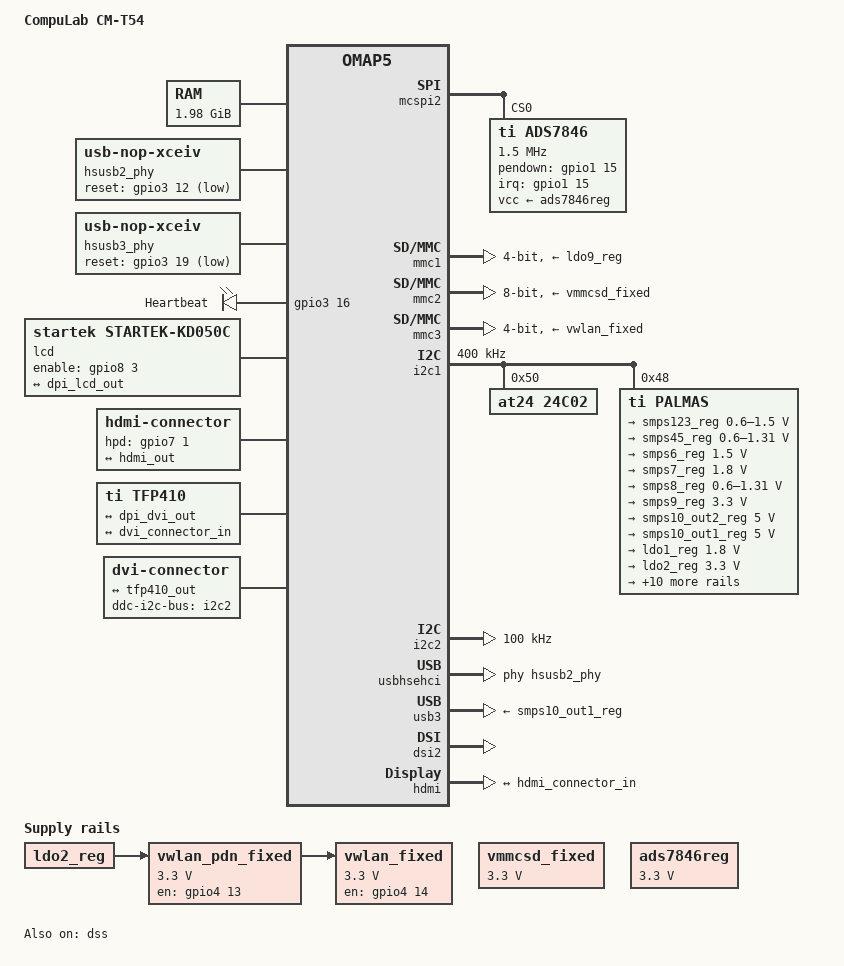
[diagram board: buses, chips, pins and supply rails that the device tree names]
/*
 * Support for CompuLab CM-T54
 */
/dts-v1/;

#include "omap5.dtsi"
#include <dt-bindings/interrupt-controller/irq.h>
#include <dt-bindings/interrupt-controller/arm-gic.h>

/ {
	model = "CompuLab CM-T54";
	compatible = "compulab,omap5-cm-t54", "ti,omap5";

	memory {
		device_type = "memory";
		reg = <0x80000000 0x7F000000>; /* 2048 MB */
	};

	aliases {
		display0 = &hdmi0;
		display1 = &dvi0;
		display2 = &lcd0;
	};

	vmmcsd_fixed: fixed-regulator-mmcsd {
		compatible = "regulator-fixed";
		regulator-name = "vmmcsd_fixed";
		regulator-min-microvolt = <3300000>;
		regulator-max-microvolt = <3300000>;
	};

	vwlan_pdn_fixed: fixed-regulator-vwlan-pdn {
		compatible = "regulator-fixed";
		regulator-name = "vwlan_pdn_fixed";
		regulator-min-microvolt = <3300000>;
		regulator-max-microvolt = <3300000>;
		vin-supply = <&ldo2_reg>;
		gpio = <&gpio4 13 GPIO_ACTIVE_HIGH>;   /* gpio4_109 */
		startup-delay-us = <1000>;
		enable-active-high;
	};

	vwlan_fixed: fixed-regulator-vwlan {
		compatible = "regulator-fixed";
		regulator-name = "vwlan_fixed";
		regulator-min-microvolt = <3300000>;
		regulator-max-microvolt = <3300000>;
		vin-supply = <&vwlan_pdn_fixed>;
		gpio = <&gpio4 14 GPIO_ACTIVE_HIGH>;   /* gpio4_110 */
		startup-delay-us = <1000>;
		enable-active-high;
	};

	ads7846reg: ads7846-reg {
		compatible = "regulator-fixed";
		regulator-name = "ads7846-reg";
		regulator-min-microvolt = <3300000>;
		regulator-max-microvolt = <3300000>;
	};

	/* HS USB Host PHY on PORT 2 */
	hsusb2_phy: hsusb2_phy {
		compatible = "usb-nop-xceiv";
		reset-gpios = <&gpio3 12 GPIO_ACTIVE_LOW>; /* gpio3_76 HUB_RESET */
	};

	/* HS USB Host PHY on PORT 3 */
	hsusb3_phy: hsusb3_phy {
		compatible = "usb-nop-xceiv";
		reset-gpios = <&gpio3 19 GPIO_ACTIVE_LOW>; /* gpio3_83 ETH_RESET */
	};

	leds {
		compatible = "gpio-leds";
		led@1 {
			label = "Heartbeat";
			gpios = <&gpio3 16 GPIO_ACTIVE_HIGH>; /* gpio3_80 ACT_LED */
			linux,default-trigger = "heartbeat";
			default-state = "off";
		};
	};

	lcd0: display {
                compatible = "startek,startek-kd050c", "panel-dpi";
                label = "lcd";

                pinctrl-names = "default";
                pinctrl-0 = <&lcd_pins>;

                enable-gpios = <&gpio8 3 GPIO_ACTIVE_HIGH>;

                panel-timing {
                        clock-frequency = <33000000>;
                        hactive = <800>;
                        vactive = <480>;
                        hfront-porch = <40>;
                        hback-porch = <40>;
                        hsync-len = <43>;
                        vback-porch = <29>;
                        vfront-porch = <13>;
                        vsync-len = <3>;
                        hsync-active = <0>;
                        vsync-active = <0>;
                        de-active = <1>;
                        pixelclk-active = <1>;
                };

                port {
                        lcd_in: endpoint {
                                remote-endpoint = <&dpi_lcd_out>;
                        };
                };
        };

	hdmi0: connector@0 {
		compatible = "hdmi-connector";
		label = "hdmi";

		type = "a";

		pinctrl-names = "default";
		pinctrl-0 = <&hdmi_conn_pins>;

		hpd-gpios = <&gpio7 1 GPIO_ACTIVE_HIGH>; /* GPIO 193, HPD */

		port {
			hdmi_connector_in: endpoint {
				remote-endpoint = <&hdmi_out>;
			};
		};
	};

	tfp410: encoder@0 {
		compatible = "ti,tfp410";

		ports {
			#address-cells = <1>;
			#size-cells = <0>;

			port@0 {
				reg = <0>;

				tfp410_in: endpoint@0 {
					remote-endpoint = <&dpi_dvi_out>;
				};
			};

			port@1 {
				reg = <1>;

				tfp410_out: endpoint@0 {
					remote-endpoint = <&dvi_connector_in>;
				};
			};
		};
	};

	dvi0: connector@1 {
		compatible = "dvi-connector";
		label = "dvi";

		digital;

		ddc-i2c-bus = <&i2c2>;

		port {
			dvi_connector_in: endpoint {
				remote-endpoint = <&tfp410_out>;
			};
		};
	};
};

&omap5_pmx_wkup {

	ads7846_pins: pinmux_ads7846_pins {
		pinctrl-single,pins = <
			OMAP5_IOPAD(0x0042, PIN_INPUT_PULLDOWN | MUX_MODE6)  /* llib_wakereqin.gpio1_wk15 */
		>;
	};
};

&omap5_pmx_core {
	pinctrl-names = "default";
	pinctrl-0 = <
			&led_gpio_pins
			&usbhost_pins
	>;

	led_gpio_pins: pinmux_led_gpio_pins {
		pinctrl-single,pins = <
			OMAP5_IOPAD(0x00b0, PIN_OUTPUT | MUX_MODE6) /* hsi2_caflag.gpio3_80 */
		>;
	};

	i2c1_pins: pinmux_i2c1_pins {
		pinctrl-single,pins = <
			OMAP5_IOPAD(0x01f2, PIN_INPUT_PULLUP | MUX_MODE0) /* i2c1_pmic_scl */
			OMAP5_IOPAD(0x01f4, PIN_INPUT_PULLUP | MUX_MODE0) /* i2c1_pmic_sda */
		>;
	};

	i2c2_pins: pinmux_i2c2_pins {
		pinctrl-single,pins = <
			OMAP5_IOPAD(0x01b8, PIN_INPUT | MUX_MODE0) /* i2c2_scl */
			OMAP5_IOPAD(0x01ba, PIN_INPUT | MUX_MODE0) /* i2c2_sda */
		>;
	};

	mmc1_pins: pinmux_mmc1_pins {
		pinctrl-single,pins = <
			OMAP5_IOPAD(0x01e2, PIN_INPUT_PULLUP | MUX_MODE0) /* sdcard_clk */
			OMAP5_IOPAD(0x01e4, PIN_INPUT_PULLUP | MUX_MODE0) /* sdcard_cmd */
			OMAP5_IOPAD(0x01e6, PIN_INPUT_PULLUP | MUX_MODE0) /* sdcard_data2 */
			OMAP5_IOPAD(0x01e8, PIN_INPUT_PULLUP | MUX_MODE0) /* sdcard_data3 */
			OMAP5_IOPAD(0x01ea, PIN_INPUT_PULLUP | MUX_MODE0) /* sdcard_data0 */
			OMAP5_IOPAD(0x01ec, PIN_INPUT_PULLUP | MUX_MODE0) /* sdcard_data1 */
		>;
	};

	mmc2_pins: pinmux_mmc2_pins {
		pinctrl-single,pins = <
			OMAP5_IOPAD(0x0040, PIN_INPUT_PULLUP | MUX_MODE0) /* emmc_clk */
			OMAP5_IOPAD(0x0042, PIN_INPUT_PULLUP | MUX_MODE0) /* emmc_cmd */
			OMAP5_IOPAD(0x0044, PIN_INPUT_PULLUP | MUX_MODE0) /* emmc_data0 */
			OMAP5_IOPAD(0x0046, PIN_INPUT_PULLUP | MUX_MODE0) /* emmc_data1 */
			OMAP5_IOPAD(0x0048, PIN_INPUT_PULLUP | MUX_MODE0) /* emmc_data2 */
			OMAP5_IOPAD(0x004a, PIN_INPUT_PULLUP | MUX_MODE0) /* emmc_data3 */
			OMAP5_IOPAD(0x004c, PIN_INPUT_PULLUP | MUX_MODE0) /* emmc_data4 */
			OMAP5_IOPAD(0x004e, PIN_INPUT_PULLUP | MUX_MODE0) /* emmc_data5 */
			OMAP5_IOPAD(0x0050, PIN_INPUT_PULLUP | MUX_MODE0) /* emmc_data6 */
			OMAP5_IOPAD(0x0052, PIN_INPUT_PULLUP | MUX_MODE0) /* emmc_data7 */
		>;
	};

	mmc3_pins: pinmux_mmc3_pins {
		pinctrl-single,pins = <
			OMAP5_IOPAD(0x01a4, PIN_INPUT_PULLUP | MUX_MODE0) /* wlsdio_clk */
			OMAP5_IOPAD(0x01a6, PIN_INPUT_PULLUP | MUX_MODE0) /* wlsdio_cmd */
			OMAP5_IOPAD(0x01a8, PIN_INPUT_PULLUP | MUX_MODE0) /* wlsdio_data0 */
			OMAP5_IOPAD(0x01aa, PIN_INPUT_PULLUP | MUX_MODE0) /* wlsdio_data1 */
			OMAP5_IOPAD(0x01ac, PIN_INPUT_PULLUP | MUX_MODE0) /* wlsdio_data2 */
			OMAP5_IOPAD(0x01ae, PIN_INPUT_PULLUP | MUX_MODE0) /* wlsdio_data3 */
		>;
	};

	wlan_gpios_pins: pinmux_wlan_gpios_pins {
		pinctrl-single,pins = <
			OMAP5_IOPAD(0x019c, PIN_OUTPUT_PULLDOWN | MUX_MODE6) /* abemcpdm_ul_data.gpio4_109 */
			OMAP5_IOPAD(0x019e, PIN_OUTPUT_PULLDOWN | MUX_MODE6) /* abemcpdm_dl_data.gpio4_110 */
		>;
	};

	usbhost_pins: pinmux_usbhost_pins {
		pinctrl-single,pins = <
			OMAP5_IOPAD(0x00c4, PIN_INPUT | MUX_MODE0)  /* usbb2_hsic_strobe */
			OMAP5_IOPAD(0x00c6, PIN_INPUT | MUX_MODE0)  /* usbb2_hsic_data */

			OMAP5_IOPAD(0x01dc, PIN_INPUT | MUX_MODE0)  /* usbb3_hsic_strobe */
			OMAP5_IOPAD(0x01de, PIN_INPUT | MUX_MODE0)  /* usbb3_hsic_data */

			OMAP5_IOPAD(0x00a8, PIN_OUTPUT | MUX_MODE6) /* hsi2_caready.gpio3_76 */
			OMAP5_IOPAD(0x00b6, PIN_OUTPUT | MUX_MODE6) /* hsi2_acdata.gpio3_83 */
		>;
	};

	dss_hdmi_pins: pinmux_dss_hdmi_pins {
		pinctrl-single,pins = <
			OMAP5_IOPAD(0x013c, PIN_INPUT_PULLUP | MUX_MODE0) /* hdmi_cec */
			OMAP5_IOPAD(0x0140, PIN_INPUT | MUX_MODE0) /* hdmi_ddc_scl */
			OMAP5_IOPAD(0x0142, PIN_INPUT | MUX_MODE0) /* hdmi_ddc_sda */
		>;
	};

	lcd_pins: pinmux_lcd_pins {
		pinctrl-single,pins = <
			OMAP5_IOPAD(0x0172, PIN_OUTPUT_PULLDOWN | MUX_MODE6) /* timer11_pwm_evt.gpio8_227 */
		>;
	};

	hdmi_conn_pins: pinmux_hdmi_conn_pins {
		pinctrl-single,pins = <
			OMAP5_IOPAD(0x013e, PIN_INPUT | MUX_MODE6) /* hdmi_hpd.gpio7_193 */
		>;
	};

	dss_dpi_pins: pinmux_dss_dpi_pins {
		pinctrl-single,pins = <
			OMAP5_IOPAD(0x0104, PIN_OUTPUT | MUX_MODE3) /* rfbi_data15.dispc_data15 */
			OMAP5_IOPAD(0x0106, PIN_OUTPUT | MUX_MODE3) /* rfbi_data14.dispc_data14 */
			OMAP5_IOPAD(0x0108, PIN_OUTPUT | MUX_MODE3) /* rfbi_data13.dispc_data13 */
			OMAP5_IOPAD(0x010a, PIN_OUTPUT | MUX_MODE3) /* rfbi_data12.dispc_data12 */
			OMAP5_IOPAD(0x010c, PIN_OUTPUT | MUX_MODE3) /* rfbi_data11.dispc_data11 */
			OMAP5_IOPAD(0x010e, PIN_OUTPUT | MUX_MODE3) /* rfbi_data10.dispc_data10 */
			OMAP5_IOPAD(0x0110, PIN_OUTPUT | MUX_MODE3) /* rfbi_data9.dispc_data9 */
			OMAP5_IOPAD(0x0112, PIN_OUTPUT | MUX_MODE3) /* rfbi_data8.dispc_data8 */
			OMAP5_IOPAD(0x0114, PIN_OUTPUT | MUX_MODE3) /* rfbi_data7.dispc_data7 */
			OMAP5_IOPAD(0x0116, PIN_OUTPUT | MUX_MODE3) /* rfbi_data6.dispc_data6 */
			OMAP5_IOPAD(0x0118, PIN_OUTPUT | MUX_MODE3) /* rfbi_data5.dispc_data5 */
			OMAP5_IOPAD(0x011a, PIN_OUTPUT | MUX_MODE3) /* rfbi_data4.dispc_data4 */
			OMAP5_IOPAD(0x011c, PIN_OUTPUT | MUX_MODE3) /* rfbi_data3.dispc_data3 */
			OMAP5_IOPAD(0x011e, PIN_OUTPUT | MUX_MODE3) /* rfbi_data2.dispc_data2 */
			OMAP5_IOPAD(0x0120, PIN_OUTPUT | MUX_MODE3) /* rfbi_data1.dispc_data1 */
			OMAP5_IOPAD(0x0122, PIN_OUTPUT | MUX_MODE3) /* rfbi_data0.dispc_data0 */
			OMAP5_IOPAD(0x0124, PIN_OUTPUT | MUX_MODE3) /* rfbi_we.dispc_vsync */
			OMAP5_IOPAD(0x0126, PIN_OUTPUT | MUX_MODE3) /* rfbi_cs0.dispc_hsync */
			OMAP5_IOPAD(0x0128, PIN_OUTPUT | MUX_MODE3) /* rfbi_a0.dispc_de */
			OMAP5_IOPAD(0x012a, PIN_OUTPUT | MUX_MODE3) /* rfbi_re.dispc_pclk */
			OMAP5_IOPAD(0x012c, PIN_OUTPUT | MUX_MODE3) /* rfbi_hsync0.dispc_data17 */
			OMAP5_IOPAD(0x012e, PIN_OUTPUT | MUX_MODE3) /* rfbi_te_vsync0.dispc_data16 */
			OMAP5_IOPAD(0x0130, PIN_OUTPUT | MUX_MODE3) /* gpio6_182.dispc_data18 */
			OMAP5_IOPAD(0x0132, PIN_OUTPUT | MUX_MODE3) /* gpio6_183.dispc_data19 */
			OMAP5_IOPAD(0x0134, PIN_OUTPUT | MUX_MODE3) /* gpio6_184.dispc_data20 */
			OMAP5_IOPAD(0x0136, PIN_OUTPUT | MUX_MODE3) /* gpio6_185.dispc_data21 */
			OMAP5_IOPAD(0x0138, PIN_OUTPUT | MUX_MODE3) /* gpio6_186.dispc_data22 */
			OMAP5_IOPAD(0x013a, PIN_OUTPUT | MUX_MODE3) /* gpio6_187.dispc_data23 */
		>;
	};

	mcspi2_pins: pinmux_mcspi1_pins {
		pinctrl-single,pins = <
			OMAP5_IOPAD(0x00fc, PIN_INPUT | MUX_MODE0) /* mcspi2_clk */
			OMAP5_IOPAD(0x00fe, PIN_INPUT | MUX_MODE0) /* mcspi2_simo */
			OMAP5_IOPAD(0x0100, PIN_INPUT | MUX_MODE0) /* mcspi2_somi */
			OMAP5_IOPAD(0x0102, PIN_INPUT | MUX_MODE0) /* mcspi2_cs0 */
		>;
	};
};

&mcspi2 {
	pinctrl-names = "default";
	pinctrl-0 = <&mcspi2_pins>;

	/* touch controller */
	ads7846@0 {
		pinctrl-names = "default";
		pinctrl-0 = <&ads7846_pins>;

		compatible = "ti,ads7846";
		vcc-supply = <&ads7846reg>;

		reg = <0>;				/* CS0 */
		spi-max-frequency = <1500000>;

		interrupt-parent = <&gpio1>;
		interrupts = <15 0>;			/* gpio1_wk15 */
		pendown-gpio = <&gpio1 15 GPIO_ACTIVE_HIGH>;


		ti,x-min = /bits/ 16 <0x0>;
		ti,x-max = /bits/ 16 <0x0fff>;
		ti,y-min = /bits/ 16 <0x0>;
		ti,y-max = /bits/ 16 <0x0fff>;

		ti,x-plate-ohms = /bits/ 16 <180>;
		ti,pressure-max = /bits/ 16 <255>;

		ti,debounce-max = /bits/ 16 <30>;
		ti,debounce-tol = /bits/ 16 <10>;
		ti,debounce-rep = /bits/ 16 <1>;

		wakeup-source;
	};
};

&mmc1 {
	pinctrl-names = "default";
	pinctrl-0 = <&mmc1_pins>;
	vmmc-supply = <&ldo9_reg>;
	bus-width = <4>;
};

&mmc2 {
	pinctrl-names = "default";
	pinctrl-0 = <&mmc2_pins>;
	vmmc-supply = <&vmmcsd_fixed>;
	bus-width = <8>;
	ti,non-removable;
};

&mmc3 {
	pinctrl-names = "default";
	pinctrl-0 = <
		&mmc3_pins
		&wlan_gpios_pins
	>;
	vmmc-supply = <&vwlan_fixed>;
	bus-width = <4>;
	ti,non-removable;
};

&mmc4 {
	status = "disabled";
};

&mmc5 {
	status = "disabled";
};

&i2c1 {
	pinctrl-names = "default";
	pinctrl-0 = <&i2c1_pins>;

	clock-frequency = <400000>;

	at24@50 {
		compatible = "at24,24c02";
		pagesize = <16>;
		reg = <0x50>;
	};

	palmas: palmas@48 {
		compatible = "ti,palmas";
		interrupts = <GIC_SPI 7 IRQ_TYPE_NONE>; /* IRQ_SYS_1N */
		reg = <0x48>;
		interrupt-controller;
		#interrupt-cells = <2>;
		ti,system-power-controller;

		extcon_usb3: palmas_usb {
			compatible = "ti,palmas-usb-vid";
			ti,enable-vbus-detection;
			ti,enable-id-detection;
			ti,wakeup;
		};

		rtc {
			compatible = "ti,palmas-rtc";
			interrupt-parent = <&palmas>;
			interrupts = <8 IRQ_TYPE_NONE>;
		};

		palmas_pmic {
			compatible = "ti,palmas-pmic";
			interrupt-parent = <&palmas>;
			interrupts = <14 IRQ_TYPE_NONE>;
			interrupt-name = "short-irq";

			ti,ldo6-vibrator;

			regulators {
				smps123_reg: smps123 {
					/* VDD_OPP_MPU */
					regulator-name = "smps123";
					regulator-min-microvolt = < 600000>;
					regulator-max-microvolt = <1500000>;
					regulator-always-on;
					regulator-boot-on;
				};

				smps45_reg: smps45 {
					/* VDD_OPP_MM */
					regulator-name = "smps45";
					regulator-min-microvolt = < 600000>;
					regulator-max-microvolt = <1310000>;
					regulator-always-on;
					regulator-boot-on;
				};

				smps6_reg: smps6 {
					/* VDD_DDR3 - over VDD_SMPS6 */
					regulator-name = "smps6";
					regulator-min-microvolt = <1500000>;
					regulator-max-microvolt = <1500000>;
					regulator-always-on;
					regulator-boot-on;
				};

				smps7_reg: smps7 {
					/* VDDS_1v8_OMAP over VDDS_1v8_MAIN */
					regulator-name = "smps7";
					regulator-min-microvolt = <1800000>;
					regulator-max-microvolt = <1800000>;
					regulator-always-on;
					regulator-boot-on;
				};

				smps8_reg: smps8 {
					/* VDD_OPP_CORE */
					regulator-name = "smps8";
					regulator-min-microvolt = < 600000>;
					regulator-max-microvolt = <1310000>;
					regulator-always-on;
					regulator-boot-on;
				};

				smps9_reg: smps9 {
					/* VDDA_2v1_AUD over VDD_2v1 */
					regulator-name = "smps9";
					regulator-min-microvolt = <3300000>;
					regulator-max-microvolt = <3300000>;
					ti,smps-range = <0x80>;
					regulator-always-on;
					regulator-boot-on;
				};

				smps10_out2_reg: smps10_out2 {
					/* VBUS_5V_OTG */
					regulator-name = "smps10_out2";
					regulator-min-microvolt = <5000000>;
					regulator-max-microvolt = <5000000>;
					regulator-always-on;
					regulator-boot-on;
				};

				smps10_out1_reg: smps10_out1 {
					/* VBUS_5V_OTG */
					regulator-name = "smps10_out1";
					regulator-min-microvolt = <5000000>;
					regulator-max-microvolt = <5000000>;
				};

				ldo1_reg: ldo1 {
					/* VDDAPHY_CAM: vdda_csiport */
					regulator-name = "ldo1";
					regulator-min-microvolt = <1800000>;
					regulator-max-microvolt = <1800000>;
				};

				ldo2_reg: ldo2 {
					/* VDD_3V3_WLAN */
					regulator-name = "ldo2";
					regulator-min-microvolt = <3300000>;
					regulator-max-microvolt = <3300000>;
					startup-delay-us = <1000>;
				};

				ldo3_reg: ldo3 {
					/* VCC_1V5_AUD */
					regulator-name = "ldo3";
					regulator-min-microvolt = <1500000>;
					regulator-max-microvolt = <1500000>;
					regulator-always-on;
					regulator-boot-on;
				};

				ldo4_reg: ldo4 {
					/* VDDAPHY_DISP: vdda_dsiport/hdmi */
					regulator-name = "ldo4";
					regulator-min-microvolt = <1800000>;
					regulator-max-microvolt = <1800000>;
				};

				ldo5_reg: ldo5 {
					/* VDDA_1V8_PHY: usb/sata/hdmi.. */
					regulator-name = "ldo5";
					regulator-min-microvolt = <1800000>;
					regulator-max-microvolt = <1800000>;
					regulator-always-on;
					regulator-boot-on;
				};

				ldo6_reg: ldo6 {
					/* VDDS_1V2_WKUP: hsic/ldo_emu_wkup */
					regulator-name = "ldo6";
					regulator-min-microvolt = <1200000>;
					regulator-max-microvolt = <1200000>;
					regulator-always-on;
					regulator-boot-on;
				};

				ldo7_reg: ldo7 {
					/* VDD_VPP: vpp1 */
					regulator-name = "ldo7";
					regulator-min-microvolt = <2000000>;
					regulator-max-microvolt = <2000000>;
					/* Only for efuse reprograming! */
					status = "disabled";
				};

				ldo8_reg: ldo8 {
					/* VDD_3V_GP: act led/serial console */
					regulator-name = "ldo8";
					regulator-min-microvolt = <3000000>;
					regulator-max-microvolt = <3000000>;
					regulator-always-on;
					regulator-boot-on;
				};

				ldo9_reg: ldo9 {
					/* VCC_DV_SDIO: vdds_sdcard */
					regulator-name = "ldo9";
					regulator-min-microvolt = <1800000>;
					regulator-max-microvolt = <3000000>;
					regulator-boot-on;
				};

				ldoln_reg: ldoln {
					/* VDDA_1v8_REF: vdds_osc/mm_l4per.. */
					regulator-name = "ldoln";
					regulator-min-microvolt = <1800000>;
					regulator-max-microvolt = <1800000>;
					regulator-always-on;
					regulator-boot-on;
				};

				ldousb_reg: ldousb {
					/* VDDA_3V_USB: VDDA_USBHS33 */
					regulator-name = "ldousb";
					regulator-min-microvolt = <3250000>;
					regulator-max-microvolt = <3250000>;
					regulator-always-on;
					regulator-boot-on;
				};

				regen3_reg: regen3 {
					/* REGEN3 controls LDO9 supply to card */
					regulator-name = "regen3";
					regulator-always-on;
					regulator-boot-on;
				};
			};
		};
	};
};

&i2c2 {
	pinctrl-names = "default";
	pinctrl-0 = <&i2c2_pins>;

	clock-frequency = <100000>;
};

&usbhshost {
	port2-mode = "ehci-hsic";
	port3-mode = "ehci-hsic";
};

&usbhsehci {
	phys = <0 &hsusb2_phy &hsusb3_phy>;
};

&usb3 {
       extcon = <&extcon_usb3>;
       vbus-supply = <&smps10_out1_reg>;
};

&cpu0 {
	cpu0-supply = <&smps123_reg>;
};

&dss {
	status = "ok";

	pinctrl-names = "default";
	pinctrl-0 = <&dss_dpi_pins>;

	port {
		dpi_dvi_out: endpoint@0 {
			remote-endpoint = <&tfp410_in>;
			data-lines = <24>;
		};

		dpi_lcd_out: endpoint@1 {
			remote-endpoint = <&lcd_in>;
			data-lines = <24>;
		};
	};
};

&dsi2 {
	status = "ok";
	vdd-supply = <&ldo4_reg>;
};

&hdmi {
	status = "ok";
	vdda-supply = <&ldo4_reg>;

	pinctrl-names = "default";
	pinctrl-0 = <&dss_hdmi_pins>;

	port {
		hdmi_out: endpoint {
			remote-endpoint = <&hdmi_connector_in>;
			lanes = <1 0 3 2 5 4 7 6>;
		};
	};
};
